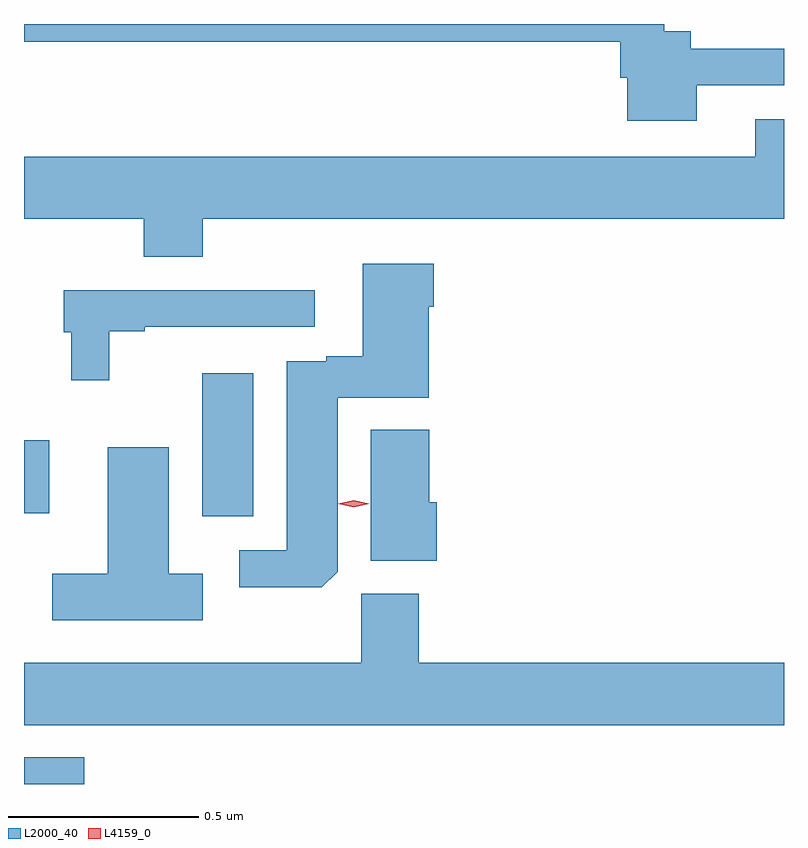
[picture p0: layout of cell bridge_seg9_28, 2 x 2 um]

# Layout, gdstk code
import gdstk
lib = gdstk.Library(unit=1e-6, precision=1e-09)
def R(c, l, rs):  # rectangles x0, y0, x1, y1
    for r in rs: c.add(gdstk.rectangle(r[:2], r[2:], *l))
def P(c, l, *ps):  # polygons
    for p in ps: c.add(gdstk.Polygon(p, *l))
L2000_40 = (2000, 40)
L4159_0 = (4159, 0)

bridge_seg9_28 = lib.new_cell('bridge_seg9_28')
R(bridge_seg9_28, L2000_40, [(948.763,1189.605,948.922,1189.675), (949.232,1190.31,949.366,1190.686), (948.763,1190.318,948.829,1190.509)])
P(bridge_seg9_28, L2000_40, [(950.533,1191.444),(950.763,1191.444),(950.763,1191.54),(950.518,1191.54),(950.518,1191.586),(950.448,1191.586),(950.448,1191.605),(948.763,1191.605),(948.763,1191.558),(950.332,1191.558),(950.332,1191.464),(950.351,1191.464),(950.351,1191.35),(950.533,1191.35)],
  [(949.233,1191.092),(950.763,1191.092),(950.763,1191.355),(950.687,1191.355),(950.687,1191.256),(948.763,1191.256),(948.763,1191.092),(949.078,1191.092),(949.078,1190.993),(949.233,1190.993)],
  [(949.588,1190.164),(949.588,1190.622),(949.828,1190.622),(949.828,1190.861),(949.841,1190.861),(949.841,1190.974),(949.655,1190.974),(949.655,1190.731),(949.559,1190.731),(949.559,1190.718),(949.454,1190.718),(949.454,1190.22),(949.329,1190.22),(949.329,1190.123),(949.546,1190.123)],
  [(948.987,1190.796),(949.081,1190.796),(949.081,1190.808),(949.528,1190.808),(949.528,1190.904),(948.868,1190.904),(948.868,1190.794),(948.887,1190.794),(948.887,1190.667),(948.987,1190.667)],
  [(949.849,1190.347),(949.829,1190.347),(949.829,1190.537),(949.676,1190.537),(949.676,1190.192),(949.849,1190.192)],
  [(949.234,1190.158),(949.144,1190.158),(949.144,1190.491),(948.983,1190.491),(948.983,1190.158),(948.837,1190.158),(948.837,1190.036),(949.234,1190.036)],
  [(950.763,1189.924),(949.802,1189.924),(949.802,1190.106),(949.651,1190.106),(949.651,1189.924),(948.763,1189.924),(948.763,1189.76),(950.763,1189.76)])
P(bridge_seg9_28, L4159_0, [(949.631,1190.333),(949.59,1190.342),(949.59,1190.342),(949.59,1190.342),(949.631,1190.352),(949.672,1190.343),(949.672,1190.343),(949.672,1190.343)])

lib.write_gds('bridge_seg9_28.gds')
